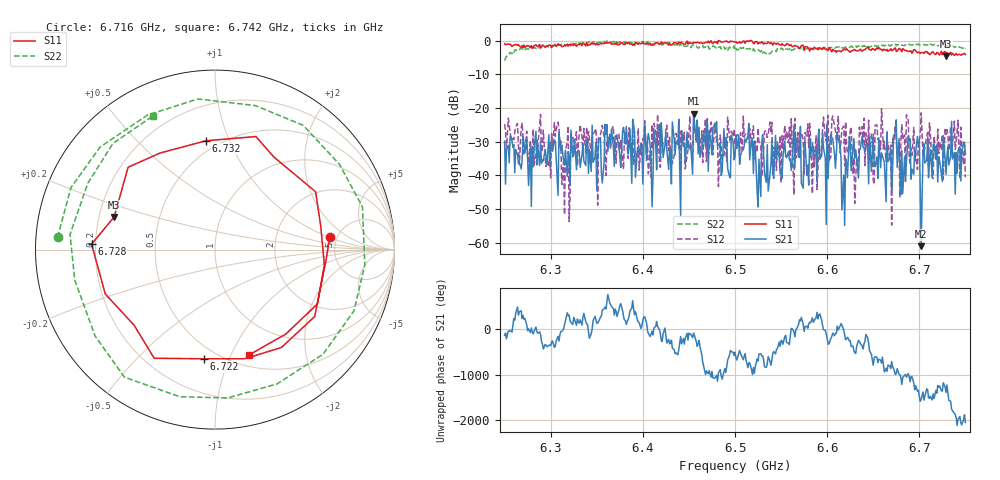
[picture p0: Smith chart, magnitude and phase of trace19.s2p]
# Hz S RI R 50
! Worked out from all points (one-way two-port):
!   401 points, 6.25 GHz to 6.75 GHz, reference 50 ohm
!   highest |S21| = -21.66 dB at 6.455 GHz (marker M1); lowest = -61.1 dB at 6.702 GHz (marker M2)
!   lowest |S11| = -4.6 dB at 6.729 GHz (marker M3), VSWR 3.89, Z = 13.2 + j7.36 ohm
!   |S11| at or under -10 dB: nowhere
!   |S22| runs from -5.9 to -0.1 dB; largest |S21 - S12| = 0.11
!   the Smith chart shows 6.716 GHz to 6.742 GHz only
!   S11 on the Smith chart (normalised r, x): 6.716 GHz: 4.34, +1.07; 6.722 GHz: 0.42, -0.81; 6.728 GHz: 0.18, +0.02; 6.732 GHz: 0.43, +0.82; 6.742 GHz: 0.61, -1.17
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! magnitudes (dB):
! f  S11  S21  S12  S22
! 6.25 GHz  -0.9  -29.9  -24.8  -5.9
! 6.298 GHz  -1.3  -28.0  -37.1  -1.9
! 6.306 GHz  -1.8  -35.2  -26.2  -1.5
! 6.318 GHz  -1.1  -40.3  -30.2  -1.2
! 6.334 GHz  -1.5  -33.9  -28.6  -0.9
! 6.418 GHz  -1.2  -25.0  -36.5  -0.9
! 6.455 GHz  -0.6  -21.7  -25.0  -1.2
! 6.5 GHz  -0.4  -34.5  -30.5  -2.9
! 6.525 GHz  -1.0  -49.4  -26.0  -2.7
! 6.584 GHz  -2.6  -30.4  -45.5  -2.5
! 6.612 GHz  -3.1  -29.2  -22.5  -1.9
! 6.619 GHz  -2.5  -54.9  -37.3  -2.0
! 6.626 GHz  -3.1  -38.6  -25.7  -1.7
! 6.668 GHz  -2.8  -35.0  -35.2  -1.6
! 6.702 GHz  -3.6  -61.1  -21.5  -1.4
! 6.716 GHz  -3.8  -30.6  -28.4  -1.1
! 6.722 GHz  -4.3  -35.6  -30.1  -1.6
! 6.728 GHz  -3.2  -35.2  -26.0  -1.5
! 6.729 GHz  -4.6  -39.7  -27.9  -1.5
! 6.732 GHz  -4.3  -37.0  -32.7  -1.6
! 6.742 GHz  -4.2  -32.7  -23.6  -1.7
! 6.75 GHz  -4.1  -33.7  -40.6  -2.2
